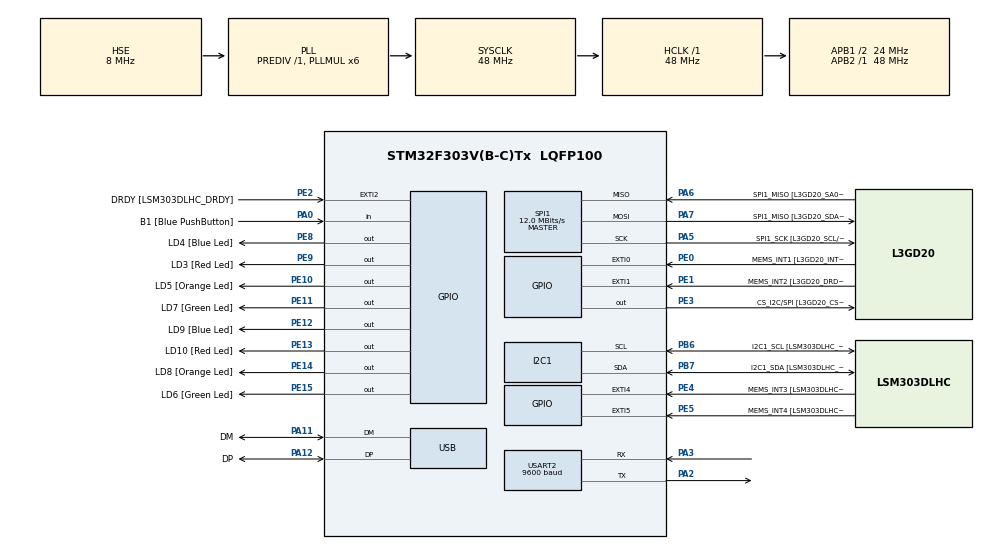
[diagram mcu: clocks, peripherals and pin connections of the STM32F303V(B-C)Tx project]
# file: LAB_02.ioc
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I2C1.Timing=0x2000090E
I2C1.Timing-I2C=0x2000090E
Mcu.Family=STM32F3
Mcu.Name=STM32F303V(B-C)Tx
Mcu.Package=LQFP100
NVIC.PriorityGroup=NVIC_PRIORITYGROUP_0
PA0.GPIO_Label=B1 [Blue PushButton]
PA0.Signal=GPIO_Input
PA11.GPIO_Label=DM
PA11.Mode=Device
PA11.Signal=USB_DM
PA12.GPIO_Label=DP
PA12.Mode=Device
PA12.Signal=USB_DP
PA13.GPIO_Label=SWDIO
PA13.Mode=Serial_Wire
PA13.Signal=SYS_JTMS-SWDIO
PA14.GPIO_Label=SWCLK
PA14.Mode=Serial_Wire
PA14.Signal=SYS_JTCK-SWCLK
PA2.Mode=Asynchronous
PA2.Signal=USART2_TX
PA3.Mode=Asynchronous
PA3.Signal=USART2_RX
PA5.GPIO_Label=SPI1_SCK [L3GD20_SCL/SPC]
PA5.Mode=Full_Duplex_Master
PA5.Signal=SPI1_SCK
PA6.GPIO_Label=SPI1_MISO [L3GD20_SA0/SDO]
PA6.Mode=Full_Duplex_Master
PA6.Signal=SPI1_MISO
PA7.GPIO_Label=SPI1_MISO [L3GD20_SDA/SDI/SDO]
PA7.Mode=Full_Duplex_Master
PA7.Signal=SPI1_MOSI
PB3.GPIO_Label=SWO
PB3.Signal=SYS_JTDO-TRACESWO
PB6.GPIO_Label=I2C1_SCL [LSM303DLHC_SCL]
PB6.GPIO_Pu=GPIO_PULLUP
PB6.Mode=I2C
PB6.Signal=I2C1_SCL
PB7.GPIO_Label=I2C1_SDA [LSM303DLHC_SDA]
PB7.GPIO_Pu=GPIO_PULLUP
PB7.Mode=I2C
PB7.Signal=I2C1_SDA
PC14-OSC32_IN.GPIO_Label=OSC32_IN
PC14-OSC32_IN.Signal=RCC_OSC32_IN
PC15-OSC32_OUT.GPIO_Label=OSC32_OUT
PC15-OSC32_OUT.Signal=RCC_OSC32_OUT
PE0.GPIO_Label=MEMS_INT1 [L3GD20_INT1]
PE0.GPIO_ModeDefaultEXTI=GPIO_MODE_EVT_RISING
PE0.Signal=GPXTI0
PE1.GPIO_Label=MEMS_INT2 [L3GD20_DRDY/INT2]
PE1.GPIO_ModeDefaultEXTI=GPIO_MODE_EVT_RISING
PE1.Signal=GPXTI1
PE10.GPIO_Label=LD5 [Orange Led]
PE10.Signal=GPIO_Output
PE11.GPIO_Label=LD7 [Green Led]
PE11.Signal=GPIO_Output
PE12.GPIO_Label=LD9 [Blue Led]
PE12.Signal=GPIO_Output
PE13.GPIO_Label=LD10 [Red Led]
PE13.Signal=GPIO_Output
PE14.GPIO_Label=LD8 [Orange Led]
PE14.Signal=GPIO_Output
PE15.GPIO_Label=LD6 [Green Led]
PE15.Signal=GPIO_Output
PE2.GPIO_Label=DRDY [LSM303DLHC_DRDY]
PE2.GPIO_ModeDefaultEXTI=GPIO_MODE_EVT_RISING
PE2.Signal=GPXTI2
PE3.GPIO_Label=CS_I2C/SPI [L3GD20_CS_I2C/SPI]
PE3.Signal=GPIO_Output
PE4.GPIO_Label=MEMS_INT3 [LSM303DLHC_INT1]
PE4.GPIO_ModeDefaultEXTI=GPIO_MODE_EVT_RISING
PE4.Signal=GPXTI4
PE5.GPIO_Label=MEMS_INT4 [LSM303DLHC_INT2]
PE5.GPIO_ModeDefaultEXTI=GPIO_MODE_EVT_RISING
PE5.Signal=GPXTI5
PE8.GPIO_Label=LD4 [Blue Led]
PE8.Signal=GPIO_Output
PE9.GPIO_Label=LD3 [Red Led]
PE9.Signal=GPIO_Output
PF0-OSC_IN.GPIO_Label=OSC_IN
PF0-OSC_IN.Mode=HSE-External-Clock-Source
PF0-OSC_IN.Signal=RCC_OSC_IN
PF1-OSC_OUT.GPIO_Label=OSC_OUT
PF1-OSC_OUT.Signal=RCC_OSC_OUT
ProjectManager.HeapSize=0x200
ProjectManager.StackSize=0x400
ProjectManager.TargetToolchain=CMake
RCC.AHBFreq_Value=48000000
RCC.APB1CLKDivider=RCC_HCLK_DIV2
RCC.APB1Freq_Value=24000000
RCC.APB1TimFreq_Value=48000000
RCC.APB2Freq_Value=48000000
RCC.APB2TimFreq_Value=48000000
RCC.CortexFreq_Value=48000000
RCC.HCLKFreq_Value=48000000
RCC.HSE_VALUE=8000000
RCC.HSI_VALUE=8000000
RCC.LSE_VALUE=32768
RCC.PLLMUL=RCC_PLL_MUL6
RCC.SYSCLKFreq_VALUE=48000000
RCC.SYSCLKSourceVirtual=RCC_SYSCLKSOURCE_PLLCLK
RCC.USBFreq_Value=48000000
SPI1.BaudRatePrescaler=SPI_BAUDRATEPRESCALER_4
SPI1.BaudRatePrescaler-Full_Duplex_Master=SPI_BAUDRATEPRESCALER_2
SPI1.CalculateBaudRate=12.0 MBits/s
SPI1.CalculateBaudRate-Full_Duplex_Master=24.0 MBits/s
SPI1.Direction=SPI_DIRECTION_2LINES
SPI1.Mode=SPI_MODE_MASTER
SPI1.Mode-Full_Duplex_Master=SPI_MODE_MASTER
SPI1.VirtualType=VM_MASTER
USART2.BaudRate=9600
USART2.VirtualMode-Asynchronous=VM_ASYNC
board=STM32F3DISCOVERY

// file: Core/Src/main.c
/* USER CODE BEGIN Header */
/**
  ******************************************************************************
  * @file           : main.c
  * @brief          : Main program body
  ******************************************************************************
  * @attention
  *
  * Copyright (c) 2026 STMicroelectronics.
  * All rights reserved.
  *
  * This software is licensed under terms that can be found in the LICENSE file
  * in the root directory of this software component.
  * If no LICENSE file comes with this software, it is provided AS-IS.
  *
  ******************************************************************************
  */
/* USER CODE END Header */
#include "main.h"

/* USER CODE BEGIN Includes */
#include <stdarg.h>
#include <stdio.h>
#include <string.h>
/* USER CODE END Includes */

I2C_HandleTypeDef hi2c1;

SPI_HandleTypeDef hspi1;

UART_HandleTypeDef huart2;

PCD_HandleTypeDef hpcd_USB_FS;

void SystemClock_Config(void);
static void MX_GPIO_Init(void);
static void MX_I2C1_Init(void);
static void MX_SPI1_Init(void);
static void MX_USART2_UART_Init(void);
static void MX_USB_PCD_Init(void);

/* USER CODE BEGIN 0 */
void myPrintf(const char *fmt, ...) {
    char buffer[128];
    va_list args;

    va_start(args, fmt);

    vsnprintf(buffer, sizeof(buffer), fmt, args);
    va_end(args);

    HAL_UART_Transmit(&huart2, (uint8_t*)buffer, strlen(buffer), HAL_MAX_DELAY);
}
/* USER CODE END 0 */

int main(void)
{

  /* MCU Configuration--------------------------------------------------------*/

  /* Reset of all peripherals, Initializes the Flash inte rface and the Systick. */
  HAL_Init();

  /* Configure the system clock */
  SystemClock_Config();

  /* Initialize all configured peripherals */
  MX_GPIO_Init();
  MX_I2C1_Init();
  MX_SPI1_Init();
  MX_USART2_UART_Init();
  MX_USB_PCD_Init();

  /* Infinite loop */
  /* USER CODE BEGIN WHILE */

  //Task 1
  // int x = 42;
  //   int y = 3.14;

  //   myPrintf("Value of x = %d, y = %d\r\n", x, y);
  //   HAL_Delay(1000);
    //Task 2
    // int a = 2;
    // int b = 3;

    // // Compute Left-Hand Side and Right-Hand Side
    // int lhs = (a + b) * (a + b);
    // int rhs = (a * a) + (b * b) + (2 * a * b);

    // // Print the results using your custom function
    // myPrintf("a = %d, b = %d\r\n", a, b);
    // myPrintf("LHS: %d\r\n", lhs);
    // myPrintf("RHS: %d\r\n", rhs);

    // // Verify and print the conclusion
    // if (lhs == rhs) {
    //     myPrintf("Identity Verified: Yes\r\n");
    // } else {
    //     myPrintf("Identity Verified: No\r\n");
    // }

    // myPrintf("--------------------\r\n");

    // HAL_Delay(2000);
    //Task 3
    // char str[] = "Microcontrollers";
    // int key = 12345; // Placeholder for your encryption key
    // int len = strlen(str);

    // // Print the original string
    // myPrintf("Original: %s\r\n", str);

    // // Encrypt the string
    // for (int i = 0; i < len; i++) {
    //     str[i] = str[i] + (key % 256);
    // }
    // myPrintf("Encrypted: %s\r\n", str);

    // // Decrypt the string
    // for (int i = 0; i < len; i++) {
    //     str[i] = str[i] - (key % 256);
    // }
    // myPrintf("Decrypted: %s\r\n", str);
    // myPrintf("--------------------\r\n");

    // HAL_Delay(2000);
    //Task 4
    // int A[2][2] = {{1, 2}, {3, 4}};
    // int B[2][2] = {{5, 6}, {7, 8}};
    // int C[2][2] = {{0, 0}, {0, 0}}; // Result matrix initialized to 0

    // // Step 2: Multiply the matrices using nested loops
    // for (int i = 0; i < 2; i++) {
    //     for (int j = 0; j < 2; j++) {
    //         for (int k = 0; k < 2; k++) {
    //             C[i][j] += A[i][k] * B[k][j];
    //         }
    //     }
    // }

    // // Step 3: Print Matrix A
    // myPrintf("Matrix A:\r\n");
    // for (int i = 0; i < 2; i++) {
    //     myPrintf("%d %d\r\n", A[i][0], A[i][1]);
    // }

    // // Print Matrix B
    // myPrintf("Matrix B:\r\n");
    // for (int i = 0; i < 2; i++) {
    //     myPrintf("%d %d\r\n", B[i][0], B[i][1]);
    // }

    // // Print Result Matrix C
    // myPrintf("Matrix C (A*B):\r\n");
    // for (int i = 0; i < 2; i++) {
    //     myPrintf("%d %d\r\n", C[i][0], C[i][1]);
    // }

    // myPrintf("--------------------\r\n");

    // HAL_Delay(2000);
    //Task 5

    HAL_Delay(2000);
    myPrintf("Armstrong Numbers between 100 and 999:\r\n");

    for (int i = 100; i <= 999; i++) {

        int hundreds = i / 100;
        int tens = (i / 10) % 10;
        int units = i % 10;

        int sum = (hundreds * hundreds * hundreds) +
                  (tens * tens * tens) +
                  (units * units * units);

        if (sum == i) {
            myPrintf("%d\r\n", i);
        }
    }

    myPrintf("--------------------\r\n");

    HAL_Delay(5000);

  while (1)
  {

    HAL_MAX_DELAY;
    /* USER CODE END WHILE */
    /* USER CODE BEGIN 3 */
  }  /* USER CODE END 3 */
}

void SystemClock_Config(void)
{
  RCC_OscInitTypeDef RCC_OscInitStruct = {0};
  RCC_ClkInitTypeDef RCC_ClkInitStruct = {0};
  RCC_PeriphCLKInitTypeDef PeriphClkInit = {0};

  /** Initializes the RCC Oscillators according to the specified parameters
  * in the RCC_OscInitTypeDef structure.
  */
  RCC_OscInitStruct.OscillatorType = RCC_OSCILLATORTYPE_HSI|RCC_OSCILLATORTYPE_HSE;
  RCC_OscInitStruct.HSEState = RCC_HSE_BYPASS;
  RCC_OscInitStruct.HSEPredivValue = RCC_HSE_PREDIV_DIV1;
  RCC_OscInitStruct.HSIState = RCC_HSI_ON;
  RCC_OscInitStruct.HSICalibrationValue = RCC_HSICALIBRATION_DEFAULT;
  RCC_OscInitStruct.PLL.PLLState = RCC_PLL_ON;
  RCC_OscInitStruct.PLL.PLLSource = RCC_PLLSOURCE_HSE;
  RCC_OscInitStruct.PLL.PLLMUL = RCC_PLL_MUL6;
  if (HAL_RCC_OscConfig(&RCC_OscInitStruct) != HAL_OK)
  {
    Error_Handler();
  }

  /** Initializes the CPU, AHB and APB buses clocks
  */
  RCC_ClkInitStruct.ClockType = RCC_CLOCKTYPE_HCLK|RCC_CLOCKTYPE_SYSCLK
                              |RCC_CLOCKTYPE_PCLK1|RCC_CLOCKTYPE_PCLK2;
  RCC_ClkInitStruct.SYSCLKSource = RCC_SYSCLKSOURCE_PLLCLK;
  RCC_ClkInitStruct.AHBCLKDivider = RCC_SYSCLK_DIV1;
  RCC_ClkInitStruct.APB1CLKDivider = RCC_HCLK_DIV2;
  RCC_ClkInitStruct.APB2CLKDivider = RCC_HCLK_DIV1;

  if (HAL_RCC_ClockConfig(&RCC_ClkInitStruct, FLASH_LATENCY_1) != HAL_OK)
  {
    Error_Handler();
  }
  PeriphClkInit.PeriphClockSelection = RCC_PERIPHCLK_USB|RCC_PERIPHCLK_USART2
                              |RCC_PERIPHCLK_I2C1;
  PeriphClkInit.Usart2ClockSelection = RCC_USART2CLKSOURCE_PCLK1;
  PeriphClkInit.I2c1ClockSelection = RCC_I2C1CLKSOURCE_HSI;
  PeriphClkInit.USBClockSelection = RCC_USBCLKSOURCE_PLL;
  if (HAL_RCCEx_PeriphCLKConfig(&PeriphClkInit) != HAL_OK)
  {
    Error_Handler();
  }
}

static void MX_I2C1_Init(void)
{

  hi2c1.Instance = I2C1;
  hi2c1.Init.Timing = 0x2000090E;
  hi2c1.Init.OwnAddress1 = 0;
  hi2c1.Init.AddressingMode = I2C_ADDRESSINGMODE_7BIT;
  hi2c1.Init.DualAddressMode = I2C_DUALADDRESS_DISABLE;
  hi2c1.Init.OwnAddress2 = 0;
  hi2c1.Init.OwnAddress2Masks = I2C_OA2_NOMASK;
  hi2c1.Init.GeneralCallMode = I2C_GENERALCALL_DISABLE;
  hi2c1.Init.NoStretchMode = I2C_NOSTRETCH_DISABLE;
  if (HAL_I2C_Init(&hi2c1) != HAL_OK)
  {
    Error_Handler();
  }

  /** Configure Analogue filter
  */
  if (HAL_I2CEx_ConfigAnalogFilter(&hi2c1, I2C_ANALOGFILTER_ENABLE) != HAL_OK)
  {
    Error_Handler();
  }

  /** Configure Digital filter
  */
  if (HAL_I2CEx_ConfigDigitalFilter(&hi2c1, 0) != HAL_OK)
  {
    Error_Handler();
  }

}

static void MX_SPI1_Init(void)
{

  /* SPI1 parameter configuration*/
  hspi1.Instance = SPI1;
  hspi1.Init.Mode = SPI_MODE_MASTER;
  hspi1.Init.Direction = SPI_DIRECTION_2LINES;
  hspi1.Init.DataSize = SPI_DATASIZE_4BIT;
  hspi1.Init.CLKPolarity = SPI_POLARITY_LOW;
  hspi1.Init.CLKPhase = SPI_PHASE_1EDGE;
  hspi1.Init.NSS = SPI_NSS_SOFT;
  hspi1.Init.BaudRatePrescaler = SPI_BAUDRATEPRESCALER_4;
  hspi1.Init.FirstBit = SPI_FIRSTBIT_MSB;
  hspi1.Init.TIMode = SPI_TIMODE_DISABLE;
  hspi1.Init.CRCCalculation = SPI_CRCCALCULATION_DISABLE;
  hspi1.Init.CRCPolynomial = 7;
  hspi1.Init.CRCLength = SPI_CRC_LENGTH_DATASIZE;
  hspi1.Init.NSSPMode = SPI_NSS_PULSE_ENABLE;
  if (HAL_SPI_Init(&hspi1) != HAL_OK)
  {
    Error_Handler();
  }

}

static void MX_USART2_UART_Init(void)
{

  huart2.Instance = USART2;
  huart2.Init.BaudRate = 9600;
  huart2.Init.WordLength = UART_WORDLENGTH_8B;
  huart2.Init.StopBits = UART_STOPBITS_1;
  huart2.Init.Parity = UART_PARITY_NONE;
  huart2.Init.Mode = UART_MODE_TX_RX;
  huart2.Init.HwFlowCtl = UART_HWCONTROL_NONE;
  huart2.Init.OverSampling = UART_OVERSAMPLING_16;
  huart2.Init.OneBitSampling = UART_ONE_BIT_SAMPLE_DISABLE;
  huart2.AdvancedInit.AdvFeatureInit = UART_ADVFEATURE_NO_INIT;
  if (HAL_UART_Init(&huart2) != HAL_OK)
  {
    Error_Handler();
  }

}

static void MX_USB_PCD_Init(void)
{

  hpcd_USB_FS.Instance = USB;
  hpcd_USB_FS.Init.dev_endpoints = 8;
  hpcd_USB_FS.Init.speed = PCD_SPEED_FULL;
  hpcd_USB_FS.Init.phy_itface = PCD_PHY_EMBEDDED;
  hpcd_USB_FS.Init.low_power_enable = DISABLE;
  hpcd_USB_FS.Init.battery_charging_enable = DISABLE;
  if (HAL_PCD_Init(&hpcd_USB_FS) != HAL_OK)
  {
    Error_Handler();
  }

}

static void MX_GPIO_Init(void)
{
  GPIO_InitTypeDef GPIO_InitStruct = {0};

  /* GPIO Ports Clock Enable */
  __HAL_RCC_GPIOE_CLK_ENABLE();
  __HAL_RCC_GPIOC_CLK_ENABLE();
  __HAL_RCC_GPIOF_CLK_ENABLE();
  __HAL_RCC_GPIOA_CLK_ENABLE();
  __HAL_RCC_GPIOB_CLK_ENABLE();

  /*Configure GPIO pin Output Level */
  HAL_GPIO_WritePin(GPIOE, CS_I2C_SPI_Pin|LD4_Pin|LD3_Pin|LD5_Pin
                          |LD7_Pin|LD9_Pin|LD10_Pin|LD8_Pin
                          |LD6_Pin, GPIO_PIN_RESET);

  /*Configure GPIO pins : DRDY_Pin MEMS_INT3_Pin MEMS_INT4_Pin MEMS_INT1_Pin
                           MEMS_INT2_Pin */
  GPIO_InitStruct.Pin = DRDY_Pin|MEMS_INT3_Pin|MEMS_INT4_Pin|MEMS_INT1_Pin
                          |MEMS_INT2_Pin;
  GPIO_InitStruct.Mode = GPIO_MODE_EVT_RISING;
  GPIO_InitStruct.Pull = GPIO_NOPULL;
  HAL_GPIO_Init(GPIOE, &GPIO_InitStruct);

  /*Configure GPIO pins : CS_I2C_SPI_Pin LD4_Pin LD3_Pin LD5_Pin
                           LD7_Pin LD9_Pin LD10_Pin LD8_Pin
                           LD6_Pin */
  GPIO_InitStruct.Pin = CS_I2C_SPI_Pin|LD4_Pin|LD3_Pin|LD5_Pin
                          |LD7_Pin|LD9_Pin|LD10_Pin|LD8_Pin
                          |LD6_Pin;
  GPIO_InitStruct.Mode = GPIO_MODE_OUTPUT_PP;
  GPIO_InitStruct.Pull = GPIO_NOPULL;
  GPIO_InitStruct.Speed = GPIO_SPEED_FREQ_LOW;
  HAL_GPIO_Init(GPIOE, &GPIO_InitStruct);

  /*Configure GPIO pin : B1_Pin */
  GPIO_InitStruct.Pin = B1_Pin;
  GPIO_InitStruct.Mode = GPIO_MODE_INPUT;
  GPIO_InitStruct.Pull = GPIO_NOPULL;
  HAL_GPIO_Init(B1_GPIO_Port, &GPIO_InitStruct);

}

void Error_Handler(void)
{
  __disable_irq();
  while (1)
  {
  }
}
